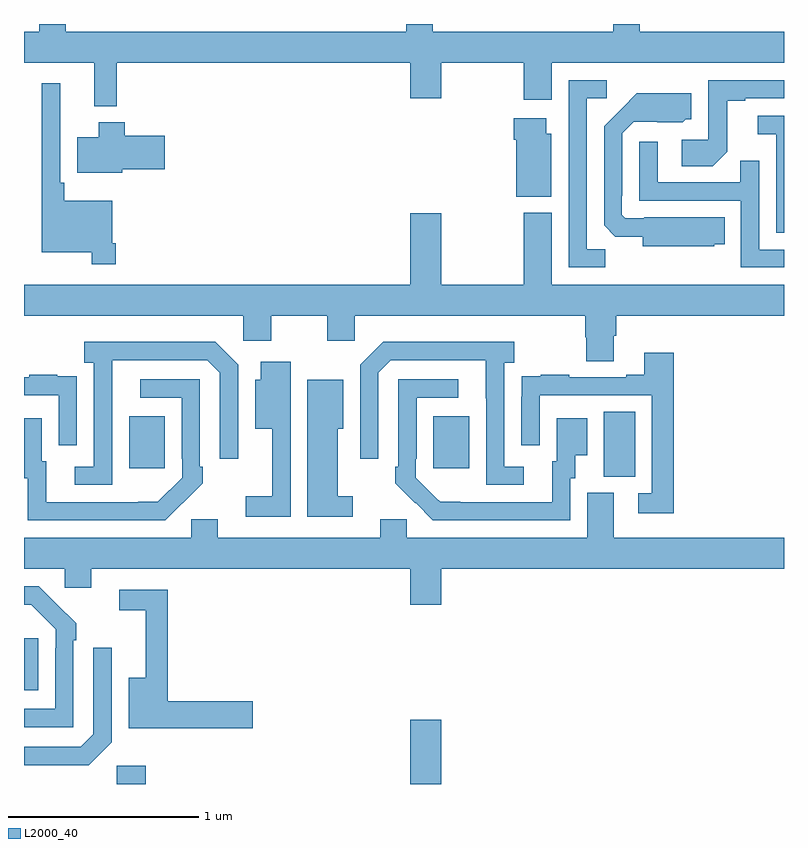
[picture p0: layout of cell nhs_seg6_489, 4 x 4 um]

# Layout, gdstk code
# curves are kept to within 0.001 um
import gdstk
lib = gdstk.Library(unit=1e-6, precision=1e-09)
def R(c, l, rs):  # rectangles x0, y0, x1, y1
    for r in rs: c.add(gdstk.rectangle(r[:2], r[2:], *l))
def P(c, l, *ps):  # polygons
    for p in ps: c.add(gdstk.Polygon(p, *l))
L2000_40 = (2000, 40)

nhs_seg6_489 = lib.new_cell('nhs_seg6_489')
R(nhs_seg6_489, L2000_40, [(139.488,983.5,139.64,983.596), (141.032,983.5,141.196,983.839), (139,983.993,139.075,984.268), (142.052,985.117,142.216,985.46), (139.553,985.161,139.741,985.435), (141.155,985.161,141.343,985.435)])
P(nhs_seg6_489, L2000_40, [(141.196,987.296),(141.631,987.296),(141.631,987.102),(141.778,987.102),(141.778,987.296),(143,987.296),(143,987.46),(142.24,987.46),(142.24,987.5),(142.101,987.5),(142.101,987.46),(141.151,987.46),(141.151,987.5),(141.011,987.5),(141.011,987.46),(139.219,987.46),(139.219,987.5),(139.079,987.5),(139.079,987.46),(139,987.46),(139,987.296),(139.37,987.296),(139.37,987.068),(139.487,987.068),(139.487,987.296),(141.032,987.296),(141.032,987.108),(141.196,987.108)],
  [(142.701,986.828),(142.701,987.096),(142.795,987.096),(142.795,987.108),(143,987.108),(143,987.204),(142.602,987.204),(142.602,986.892),(142.461,986.892),(142.461,986.752),(142.625,986.752)],
  [(142.059,986.315),(141.963,986.315),(141.963,987.108),(142.066,987.108),(142.066,987.204),(141.867,987.204),(141.867,986.22),(142.059,986.22)],
  [(139.484,986.347),(139.464,986.347),(139.464,986.569),(139.211,986.569),(139.211,986.665),(139.191,986.665),(139.191,987.187),(139.094,987.187),(139.094,986.3),(139.356,986.3),(139.356,986.235),(139.484,986.235)],
  [(142.632,986.342),(142.688,986.342),(142.688,986.482),(142.264,986.482),(142.264,986.478),(142.164,986.478),(142.146,986.496),(142.146,986.596),(142.149,986.596),(142.149,986.925),(142.209,986.985),(142.466,986.984),(142.482,987),(142.513,987),(142.513,987.136),(142.225,987.136),(142.053,986.962),(142.053,986.44),(142.112,986.381),(142.256,986.381),(142.256,986.33),(142.632,986.33)],
  [(143,987.018),(142.863,987.018),(142.863,986.921),(142.959,986.921),(142.959,986.401),(143,986.401)],
  [(141.775,986.922),(141.748,986.922),(141.748,987.004),(141.578,987.004),(141.578,986.891),(141.59,986.891),(141.59,986.591),(141.775,986.591)],
  [(139.516,986.735),(139.741,986.735),(139.741,986.913),(139.529,986.913),(139.529,986.983),(139.394,986.983),(139.394,986.905),(139.28,986.905),(139.28,986.717),(139.516,986.717)],
  [(143,986.313),(142.869,986.313),(142.869,986.78),(142.771,986.78),(142.771,986.667),(142.335,986.667),(142.335,986.881),(142.239,986.881),(142.239,986.571),(142.773,986.571),(142.773,986.22),(143,986.22)],
  [(142.105,985.858),(142.118,985.858),(142.118,985.964),(143,985.964),(143,986.128),(141.778,986.128),(141.778,986.506),(141.631,986.506),(141.631,986.128),(141.196,986.128),(141.196,986.503),(141.032,986.503),(141.032,986.128),(139,986.128),(139,985.964),(140.154,985.964),(140.154,985.833),(140.301,985.833),(140.301,985.964),(140.596,985.964),(140.596,985.833),(140.742,985.833),(140.742,985.964),(141.953,985.964),(141.953,985.851),(141.958,985.851),(141.958,985.726),(142.105,985.726)],
  [(139.464,985.531),(139.465,985.731),(139.965,985.731),(140.031,985.665),(140.031,985.212),(140.127,985.212),(140.127,985.707),(140.006,985.828),(139.317,985.828),(139.317,985.718),(139.368,985.718),(139.368,985.17),(139.266,985.17),(139.266,985.074),(139.464,985.074)],
  [(141.631,985.17),(141.528,985.17),(141.528,985.718),(141.58,985.718),(141.58,985.828),(140.89,985.828),(140.769,985.707),(140.769,985.212),(140.865,985.212),(140.865,985.665),(140.931,985.731),(141.431,985.731),(141.432,985.074),(141.631,985.074)],
  [(142.421,985.771),(142.265,985.771),(142.265,985.654),(142.169,985.654),(142.169,985.641),(141.869,985.641),(141.869,985.654),(141.721,985.654),(141.721,985.647),(141.619,985.647),(141.619,985.538),(141.618,985.538),(141.618,985.284),(141.714,985.284),(141.714,985.545),(142.305,985.545),(142.305,985.029),(142.233,985.029),(142.233,984.924),(142.421,984.924)],
  [(140.403,985.474),(140.404,985.474),(140.404,985.723),(140.246,985.723),(140.246,985.627),(140.216,985.627),(140.216,985.37),(140.306,985.37),(140.306,985.015),(140.166,985.015),(140.166,984.906),(140.403,984.906)],
  [(139.278,985.538),(139.277,985.538),(139.277,985.647),(139.175,985.647),(139.175,985.654),(139.027,985.654),(139.027,985.641),(139,985.641),(139,985.545),(139.182,985.545),(139.182,985.284),(139.278,985.284)],
  [(141.876,985.11),(141.901,985.11),(141.901,985.229),(141.964,985.229),(141.964,985.426),(141.803,985.426),(141.803,985.2),(141.779,985.2),(141.779,984.984),(141.192,984.985),(141.063,985.113),(141.063,985.213),(141.066,985.213),(141.066,985.533),(141.286,985.533),(141.286,985.629),(140.97,985.629),(140.97,985.171),(140.955,985.171),(140.955,985.083),(141.152,984.888),(141.876,984.888)],
  [(139.835,984.979),(139.836,984.978),(139.941,985.083),(139.941,985.171),(139.926,985.171),(139.926,985.629),(139.611,985.629),(139.611,985.533),(139.83,985.533),(139.83,985.213),(139.833,985.213),(139.833,985.113),(139.705,984.985),(139.117,984.984),(139.117,985.2),(139.093,985.2),(139.093,985.426),(139,985.426),(139,985.11),(139.02,985.11),(139.02,984.888),(139.744,984.888)],
  [(140.731,985.015),(140.65,985.015),(140.65,985.37),(140.68,985.37),(140.68,985.627),(140.492,985.627),(140.492,984.906),(140.731,984.906)],
  [(141.196,984.632),(143,984.632),(143,984.796),(142.105,984.796),(142.105,985.032),(141.965,985.032),(141.965,984.796),(141.015,984.796),(141.015,984.894),(140.876,984.894),(140.876,984.796),(140.02,984.796),(140.02,984.894),(139.881,984.894),(139.881,984.796),(139,984.796),(139,984.632),(139.215,984.632),(139.215,984.534),(139.354,984.534),(139.354,984.632),(141.032,984.632),(141.032,984.444),(141.196,984.444)],
  [(139.26,984.257),(139.275,984.257),(139.275,984.345),(139.078,984.54),(139,984.54),(139,984.444),(139.039,984.444),(139.167,984.315),(139.167,984.215),(139.164,984.215),(139.164,983.895),(139,983.895),(139,983.799),(139.26,983.799)],
  [(140.203,983.936),(139.757,983.936),(139.757,984.522),(139.5,984.522),(139.5,984.414),(139.64,984.414),(139.64,984.058),(139.55,984.058),(139.55,983.794),(140.203,983.794)],
  [(139.461,983.721),(139.461,984.217),(139.365,984.217),(139.365,983.763),(139.299,983.697),(139,983.697),(139,983.6),(139.34,983.6)])

lib.write_gds('nhs_seg6_489.gds')
